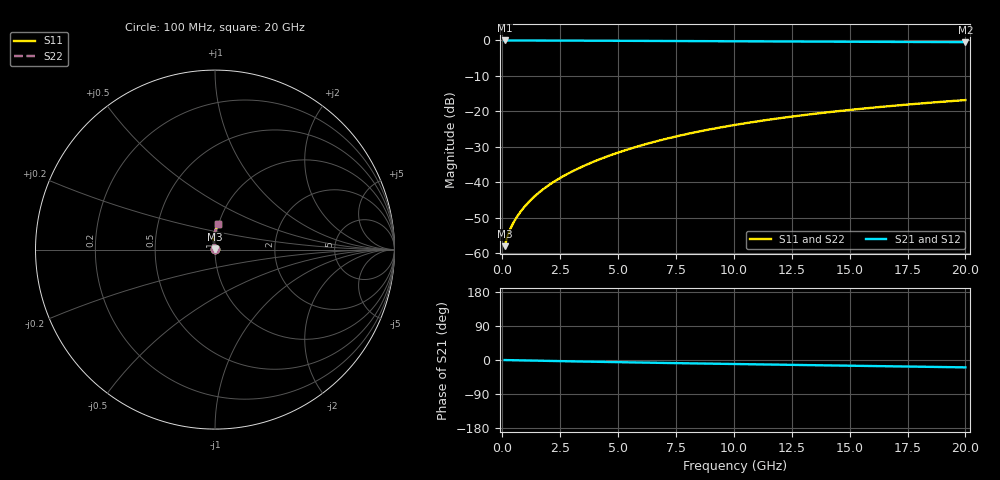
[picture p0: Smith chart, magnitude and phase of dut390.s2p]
! Touchstone file exported from HFSS 2024.1.0
!  File:  C:/UserFiles/LocalFiles/RDL_TSV_Batchsim/temp_RDL_top_390_1779609761.aedt
!  Generated:  04:04:46 PM May 24, 2026
!  Design:  RDL_top
!  Project:  temp_RDL_top_390_1779609761
!  Setup:  Setup1
!  Solution:  Sweep
! Variables:
!  dtsv = 10.80580581um
!  hbump = 3um
!  htsv = 55.44um
!  ldown = 100um
!  lrdl = 308.31um
!  p = 40
!  p1 = 43.92um
!  rhole = 1um
!  t = 450um
!  tdown = 3.915915916um
!  trdl = 4.25um
!  wdown = 15.38538539um
!  wrdl = 28.96um
# GHz S MA R 50.000000
! Terminal data exported
! Port[1] = Box2_T1
! Port[2] = Box2_T2
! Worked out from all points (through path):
!   200 points, 100 MHz to 20 GHz, reference 50 ohm
!   highest |S21| = -0.01 dB at 100 MHz (marker M1); lowest = -0.5 dB at 20 GHz (marker M2)
!   group delay of S21, straight-line fit = 2.64 ps
!   lowest |S11| = -57.9 dB at 100 MHz (marker M3), VSWR 1.00, Z = 50.1 + j0.0593 ohm
!   |S11| at or under -10 dB: start of sweep to end of sweep
!   |S22| runs from -57.9 to -16.8 dB; largest |S21 - S12| = 2.5e-15
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0.1  0.001266 27.9  0.9989 -0.1  0.9989 -0.1  0.001266 27.9
! Gamma 0 0 0 0
! Port Impedance 50 0 50 0
0.2  0.00165 42.4  0.9987 -0.3  0.9987 -0.3  0.00165 42.4
0.3  0.002041 50.3  0.9986 -0.4  0.9986 -0.4  0.002041 50.3
0.4  0.002414 55.8  0.9985 -0.5  0.9985 -0.5  0.002414 55.8
0.5  0.002781 60.3  0.9984 -0.6  0.9984 -0.6  0.002781 60.3
0.8  0.003912 70.0  0.9981 -1.0  0.9981 -1.0  0.003912 70.0
1  0.004708 74.6  0.9979 -1.2  0.9979 -1.2  0.004708 74.6
1.2  0.005535 78.2  0.9977 -1.5  0.9977 -1.5  0.005535 78.2
1.7  0.007726 84.6  0.9969 -2.0  0.9969 -2.0  0.007726 84.6
2.2  0.01008 88.9  0.9959 -2.6  0.9959 -2.6  0.01008 88.9
2.8  0.01312 92.5  0.9944 -3.3  0.9944 -3.3  0.01312 92.5
3.5  0.01698 95.3  0.9924 -4.1  0.9924 -4.1  0.01698 95.3
4.2  0.02116 97.1  0.9902 -4.9  0.9902 -4.9  0.02117 97.1
5  0.02631 98.3  0.9874 -5.7  0.9874 -5.7  0.02632 98.4
5.9  0.03252 98.9  0.9843 -6.7  0.9843 -6.7  0.03253 98.9
6.8  0.03909 98.8  0.9811 -7.6  0.9811 -7.6  0.03909 98.8
8.4  0.0514 97.7  0.9757 -9.1  0.9757 -9.1  0.05141 97.7
10.1  0.06502 95.9  0.9704 -10.7  0.9704 -10.7  0.06503 95.9
11.7  0.07806 93.8  0.9657 -12.1  0.9657 -12.1  0.07808 93.8
13.4  0.09197 91.4  0.9612 -13.7  0.9612 -13.7  0.09198 91.4
16.7  0.1187 86.9  0.9532 -16.6  0.9532 -16.6  0.1187 86.9
20  0.1446 82.7  0.9458 -19.4  0.9458 -19.4  0.1447 82.7
